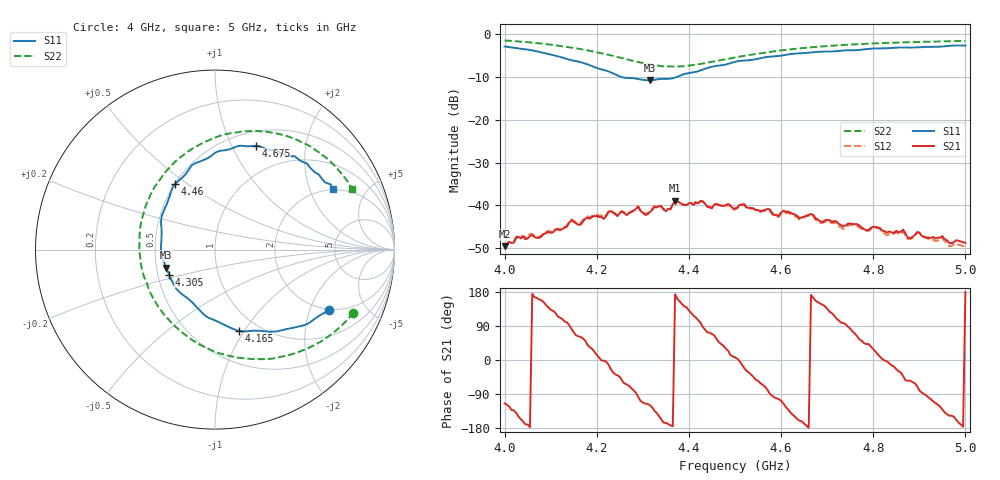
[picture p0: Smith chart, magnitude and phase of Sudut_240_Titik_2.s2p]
# Hz S RI R 50
! CMT, C1220, 16058040, 17.2.0/1
! Date: 15/08/2018 11:43:37
! Data: Format (Calibration Info)
! Freq  S11: Re/Im (F2)  S21: Re/Im (F2)  S12: Re/Im (F2)  S22: Re/Im (F2)
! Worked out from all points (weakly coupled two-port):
!   201 points, 4 GHz to 5 GHz, reference 50 ohm
!   highest |S21| = -38.90 dB at 4.37 GHz (marker M1); lowest = -49.5 dB at 4 GHz (marker M2)
!   lowest |S11| = -10.8 dB at 4.315 GHz (marker M3), VSWR 1.81, Z = 28.2 - j6.13 ohm
!   |S11| at or under -10 dB: 4.254 GHz to 4.373 GHz (119 MHz wide, 2.76 % of centre)
!   |S22| runs from -7.5 to -1.4 dB; largest |S21 - S12| = 0.00039
!   S11 on the Smith chart (normalised r, x): 4 GHz: 1.96, -2.74; 4.165 GHz: 0.81, -0.95; 4.305 GHz: 0.57, -0.17; 4.46 GHz: 0.50, +0.45; 4.675 GHz: 0.66, +1.24; 5 GHz: 1.96, +2.91
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4e9  0.6367 -0.3367  -0.00139 -0.00304  -0.00131 -0.00318  0.7714 -0.3512
4.12e9  0.2968 -0.4566  -0.00189 0.00476  -0.00206 0.00481  0.4552 -0.5742
4.145e9  0.2077 -0.452  0.000904 0.0066  0.000681 0.0068  0.3617 -0.5984
4.165e9  0.1334 -0.4529  0.0029 0.00519  0.00293 0.00545  0.2826 -0.6098
4.17e9  0.1177 -0.4481  0.00354 0.0054  0.00358 0.00565  0.2618 -0.6104
4.29e9  -0.2316 -0.1902  -0.00128 -0.00951  -0.00126 -0.00971  -0.244 -0.4055
4.305e9  -0.2559 -0.1397  -0.0033 -0.007  -0.00334 -0.0072  -0.2921 -0.3511
4.315e9  -0.2714 -0.0998  -0.00411 -0.00726  -0.00422 -0.00749  -0.3219 -0.3085
4.335e9  -0.2982 -0.0333  -0.00831 -0.00517  -0.00852 -0.00511  -0.37 -0.2167
4.35e9  -0.3011 0.0162  -0.00831 -0.00205  -0.0085 -0.002  -0.3975 -0.1452
4.37e9  -0.2972 0.0946  -0.0113 0.00127  -0.0113 0.00152  -0.4169 -0.0462
4.46e9  -0.2233 0.3645  0.00589 0.00857  0.00617 0.00833  -0.3265 0.3628
4.5e9  -0.1391 0.4564  0.00911 0.00113  0.00888 0.00108  -0.2246 0.4873
4.52e9  -0.1084 0.4816  0.00963 -0.00374  0.00947 -0.00379  -0.1673 0.5342
4.595e9  0.0647 0.5551  -0.00175 -0.00736  -0.00187 -0.0071  0.0548 0.6421
4.67e9  0.2179 0.5771  -0.0074 0.00217  -0.0071 0.00225  0.2588 0.6586
4.675e9  0.2258 0.5778  -0.00644 0.00284  -0.00614 0.00279  0.2712 0.6587
4.835e9  0.4847 0.4904  0.00489 -0.000773  0.00457 -0.000616  0.5864 0.5363
4.865e9  0.5188 0.4722  0.00383 -0.00354  0.00367 -0.00334  0.6282 0.5035
4.875e9  0.5268 0.4607  0.00242 -0.0034  0.00236 -0.00326  0.6405 0.4919
4.9e9  0.5616 0.4277  0.000821 -0.00472  0.000965 -0.0047  0.6703 0.4632
5e9  0.6565 0.3374  -0.00365 1.87e-05  -0.00337 -0.000186  0.7659 0.3376
